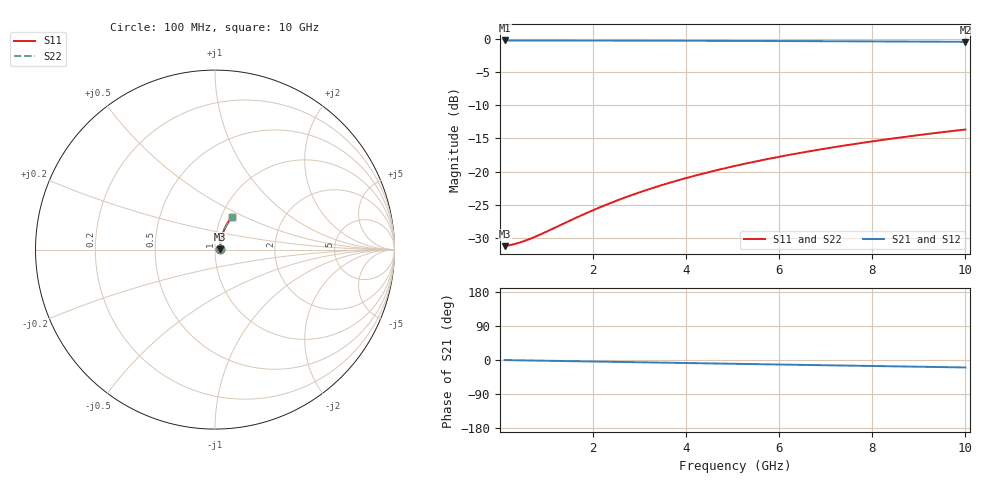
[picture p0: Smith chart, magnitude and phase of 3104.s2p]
# Hz S RI R 50.00
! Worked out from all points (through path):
!   100 points, 100 MHz to 10 GHz, reference 50 ohm
!   highest |S21| = -0.24 dB at 100 MHz (marker M1); lowest = -0.5 dB at 10 GHz (marker M2)
!   group delay of S21, straight-line fit = 5.47 ps
!   lowest |S11| = -31.2 dB at 100 MHz (marker M3), VSWR 1.06, Z = 52.8 + j0.216 ohm
!   |S11| at or under -10 dB: start of sweep to end of sweep
!   |S22| runs from -31.2 to -13.6 dB; largest |S21 - S12| = 0
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1e8  0.0274 0.00204  0.9726 -0.00339  0.9726 -0.00339  0.0274 0.00204
3e8  0.0278 0.00611  0.9722 -0.0102  0.9722 -0.0102  0.0278 0.00611
4e8  0.028 0.00814  0.972 -0.0136  0.972 -0.0136  0.028 0.00814
5e8  0.0281 0.0102  0.9719 -0.0169  0.9719 -0.0169  0.0281 0.0102
7e8  0.0284 0.0142  0.9715 -0.0237  0.9715 -0.0237  0.0284 0.0142
1e9  0.029 0.0203  0.9709 -0.0338  0.9709 -0.0338  0.029 0.0203
1.8e9  0.0309 0.0365  0.9688 -0.0608  0.9688 -0.0608  0.0309 0.0365
2.2e9  0.0321 0.0445  0.9674 -0.0742  0.9674 -0.0742  0.0321 0.0445
2.6e9  0.0336 0.0525  0.9657 -0.0876  0.9657 -0.0876  0.0336 0.0525
3e9  0.0353 0.0604  0.9638 -0.101  0.9638 -0.101  0.0353 0.0604
3.4e9  0.0372 0.0682  0.9617 -0.1142  0.9617 -0.1142  0.0372 0.0682
3.8e9  0.0393 0.076  0.9593 -0.1275  0.9593 -0.1275  0.0393 0.076
4.2e9  0.0416 0.0838  0.9567 -0.1406  0.9567 -0.1406  0.0416 0.0838
4.6e9  0.0441 0.0914  0.9539 -0.1537  0.9539 -0.1537  0.0441 0.0914
5.1e9  0.0475 0.1009  0.95 -0.1699  0.95 -0.1699  0.0475 0.1009
5.5e9  0.0505 0.1083  0.9466 -0.1828  0.9466 -0.1828  0.0505 0.1083
5.9e9  0.0537 0.1157  0.943 -0.1956  0.943 -0.1956  0.0537 0.1157
6.7e9  0.0606 0.1301  0.9352 -0.2208  0.9352 -0.2208  0.0606 0.1301
7.5e9  0.0682 0.144  0.9265 -0.2456  0.9265 -0.2456  0.0682 0.144
8.4e9  0.0777 0.159  0.9157 -0.2729  0.9157 -0.2729  0.0777 0.159
9.2e9  0.0868 0.1718  0.9052 -0.2965  0.9052 -0.2965  0.0868 0.1718
1e10  0.0965 0.184  0.8941 -0.3197  0.8941 -0.3197  0.0965 0.184
